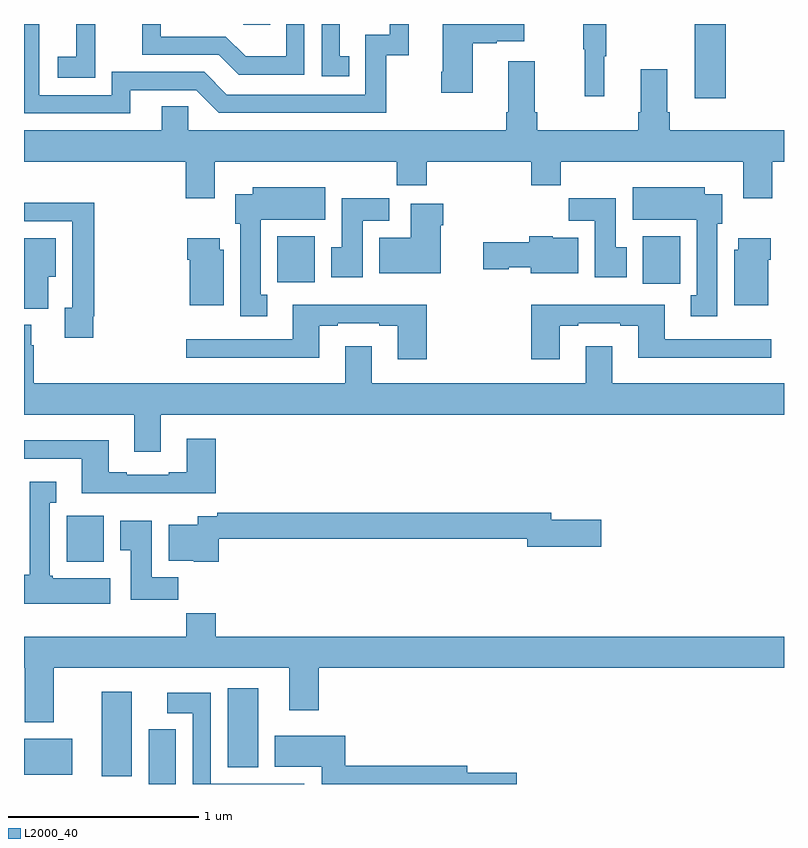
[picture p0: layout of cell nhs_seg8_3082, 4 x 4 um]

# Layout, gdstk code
import gdstk
lib = gdstk.Library(unit=1e-6, precision=1e-09)
def R(c, l, rs):  # rectangles x0, y0, x1, y1
    for r in rs: c.add(gdstk.rectangle(r[:2], r[2:], *l))
def P(c, l, *ps):  # polygons
    for p in ps: c.add(gdstk.Polygon(p, *l))
L2000_40 = (2000, 40)

nhs_seg8_3082 = lib.new_cell('nhs_seg8_3082')
R(nhs_seg8_3082, L2000_40, [(303.656,1103.9,303.799,1104.187), (303.41,1103.94,303.568,1104.385), (303.002,1103.948,303.253,1104.139), (304.073,1103.987,304.234,1104.403), (303.224,1105.07,303.421,1105.312), (306.257,1106.532,306.453,1106.782), (304.334,1106.54,304.531,1106.782), (306.53,1107.51,306.694,1107.9), (304.155,1107.897,304.295,1107.9)])
P(nhs_seg8_3082, L2000_40, [(304.476,1107.9),(304.38,1107.9),(304.38,1107.73),(304.166,1107.73),(304.062,1107.834),(303.72,1107.834),(303.72,1107.9),(303.622,1107.9),(303.622,1107.738),(304.025,1107.738),(304.13,1107.633),(304.476,1107.633)],
  [(303.375,1107.823),(303.374,1107.823),(303.374,1107.9),(303.275,1107.9),(303.275,1107.727),(303.177,1107.727),(303.177,1107.617),(303.375,1107.617)],
  [(303.559,1107.552),(303.906,1107.552),(304.026,1107.432),(304.906,1107.432),(304.906,1107.735),(305.024,1107.735),(305.024,1107.9),(304.926,1107.9),(304.926,1107.843),(304.797,1107.843),(304.797,1107.528),(304.068,1107.528),(303.948,1107.648),(303.462,1107.648),(303.462,1107.525),(303.081,1107.525),(303.081,1107.9),(303,1107.9),(303,1107.429),(303.559,1107.429)],
  [(304.712,1107.729),(304.663,1107.729),(304.663,1107.9),(304.566,1107.9),(304.566,1107.624),(304.712,1107.624)],
  [(305.362,1107.799),(305.489,1107.799),(305.489,1107.809),(305.632,1107.809),(305.632,1107.9),(305.204,1107.9),(305.204,1107.649),(305.197,1107.649),(305.197,1107.537),(305.362,1107.537)],
  [(306.053,1107.731),(306.064,1107.731),(306.064,1107.9),(305.943,1107.9),(305.943,1107.768),(305.95,1107.768),(305.95,1107.519),(306.053,1107.519)],
  [(304.003,1107.176),(304.963,1107.176),(304.963,1107.052),(305.12,1107.052),(305.12,1107.176),(305.669,1107.176),(305.669,1107.052),(305.825,1107.052),(305.825,1107.176),(306.785,1107.176),(306.785,1106.982),(306.938,1106.982),(306.938,1107.176),(307,1107.176),(307,1107.34),(306.398,1107.34),(306.398,1107.436),(306.385,1107.436),(306.385,1107.661),(306.245,1107.661),(306.245,1107.436),(306.233,1107.436),(306.233,1107.34),(305.702,1107.34),(305.702,1107.436),(305.689,1107.436),(305.689,1107.703),(305.549,1107.703),(305.549,1107.436),(305.537,1107.436),(305.537,1107.34),(303.864,1107.34),(303.864,1107.467),(303.725,1107.467),(303.725,1107.34),(303,1107.34),(303,1107.176),(303.851,1107.176),(303.851,1106.982),(304.003,1106.982)],
  [(304.279,1106.474),(304.246,1106.474),(304.246,1106.87),(304.585,1106.87),(304.585,1107.04),(304.205,1107.04),(304.205,1107.004),(304.112,1107.004),(304.112,1106.85),(304.139,1106.85),(304.139,1106.361),(304.279,1106.361)],
  [(306.649,1106.85),(306.676,1106.85),(306.676,1107.004),(306.583,1107.004),(306.583,1107.04),(306.203,1107.04),(306.203,1106.87),(306.542,1106.87),(306.542,1106.473),(306.509,1106.473),(306.509,1106.361),(306.649,1106.361)],
  [(304.783,1106.864),(304.922,1106.864),(304.922,1106.982),(304.673,1106.982),(304.673,1106.724),(304.616,1106.724),(304.616,1106.568),(304.783,1106.568)],
  [(306.172,1106.724),(306.115,1106.724),(306.115,1106.982),(305.866,1106.982),(305.866,1106.864),(306.005,1106.864),(306.005,1106.568),(306.172,1106.568)],
  [(303.364,1106.362),(303.371,1106.362),(303.371,1106.96),(303.079,1106.96),(303.079,1106.958),(303,1106.958),(303,1106.862),(303.255,1106.862),(303.255,1106.406),(303.215,1106.406),(303.215,1106.25),(303.364,1106.25)],
  [(305.194,1106.84),(305.207,1106.84),(305.207,1106.953),(305.036,1106.953),(305.036,1106.776),(304.871,1106.776),(304.871,1106.588),(305.194,1106.588)],
  [(305.917,1106.776),(305.784,1106.776),(305.784,1106.782),(305.659,1106.782),(305.659,1106.751),(305.418,1106.751),(305.418,1106.609),(305.55,1106.609),(305.55,1106.621),(305.666,1106.621),(305.666,1106.588),(305.917,1106.588)],
  [(304.051,1106.712),(304.03,1106.712),(304.03,1106.773),(303.86,1106.773),(303.86,1106.66),(303.872,1106.66),(303.872,1106.42),(304.051,1106.42)],
  [(306.916,1106.66),(306.929,1106.66),(306.929,1106.773),(306.758,1106.773),(306.758,1106.712),(306.737,1106.712),(306.737,1106.42),(306.916,1106.42)],
  [(303.127,1106.57),(303.166,1106.57),(303.166,1106.773),(303,1106.773),(303,1106.402),(303.127,1106.402)],
  [(305.821,1106.313),(305.917,1106.313),(305.917,1106.325),(306.137,1106.325),(306.137,1106.313),(306.233,1106.313),(306.233,1106.144),(306.934,1106.144),(306.934,1106.241),(306.373,1106.241),(306.373,1106.422),(305.669,1106.422),(305.669,1106.136),(305.821,1106.136)],
  [(305.12,1106.422),(304.415,1106.422),(304.415,1106.241),(303.855,1106.241),(303.855,1106.144),(304.555,1106.144),(304.555,1106.313),(304.651,1106.313),(304.651,1106.325),(304.871,1106.325),(304.871,1106.313),(304.967,1106.313),(304.967,1106.136),(305.12,1106.136)],
  [(303.721,1105.844),(307,1105.844),(307,1106.008),(306.097,1106.008),(306.097,1106.203),(305.957,1106.203),(305.957,1106.008),(304.831,1106.008),(304.831,1106.203),(304.691,1106.203),(304.691,1106.008),(303.05,1106.008),(303.05,1106.21),(303.037,1106.21),(303.037,1106.317),(303,1106.317),(303,1105.844),(303.581,1105.844),(303.581,1105.65),(303.721,1105.65)],
  [(304.01,1105.717),(303.857,1105.717),(303.857,1105.54),(303.761,1105.54),(303.761,1105.527),(303.541,1105.527),(303.541,1105.54),(303.445,1105.54),(303.445,1105.708),(303,1105.708),(303,1105.611),(303.305,1105.611),(303.305,1105.43),(304.01,1105.43)],
  [(303.454,1104.982),(303.15,1104.982),(303.15,1104.996),(303.136,1104.996),(303.136,1105.379),(303.169,1105.379),(303.169,1105.492),(303.029,1105.492),(303.029,1105.002),(303,1105.002),(303,1104.848),(303.454,1104.848)],
  [(304.024,1105.192),(305.648,1105.192),(305.648,1105.15),(306.037,1105.15),(306.037,1105.292),(305.776,1105.292),(305.776,1105.328),(304.018,1105.328),(304.018,1105.308),(303.915,1105.308),(303.915,1105.264),(303.761,1105.264),(303.761,1105.076),(303.894,1105.076),(303.894,1105.07),(304.024,1105.07)],
  [(303.812,1104.988),(303.673,1104.988),(303.673,1105.285),(303.506,1105.285),(303.506,1105.129),(303.563,1105.129),(303.563,1104.87),(303.812,1104.87)],
  [(303.157,1104.512),(304.397,1104.512),(304.397,1104.288),(304.55,1104.288),(304.55,1104.512),(307,1104.512),(307,1104.676),(304.01,1104.676),(304.01,1104.8),(303.853,1104.8),(303.853,1104.676),(303,1104.676),(303,1104.512),(303.005,1104.512),(303.005,1104.224),(303.157,1104.224)],
  [(304.474,1103.902),(304.23,1103.902),(304.23,1103.901),(303.984,1103.901),(303.984,1104.379),(303.753,1104.379),(303.753,1104.272),(303.888,1104.272),(303.888,1103.9),(304.474,1103.9)],
  [(305.593,1103.96),(305.332,1103.96),(305.332,1103.996),(304.691,1103.996),(304.691,1104.154),(304.319,1104.154),(304.319,1103.99),(304.568,1103.99),(304.568,1103.9),(305.593,1103.9)])

lib.write_gds('nhs_seg8_3082.gds')
